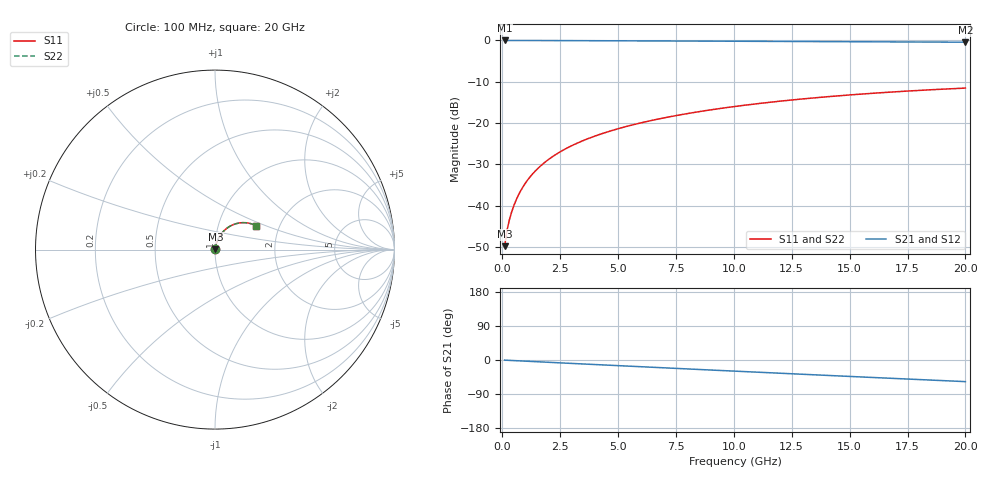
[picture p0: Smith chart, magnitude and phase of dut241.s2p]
! Touchstone file exported from HFSS 2026.1.0
!  File:  C:/ffzhzh/LocalFiles/Ansys_Project_Files/temp_train_BSMRDL_241_1782988429_41620.aedt
!  Generated:  06:35:07 PM Jul  2, 2026
!  Design:  BSMRDL
!  Project:  temp_train_BSMRDL_241_1782988429_41620
! Variables:
!  h_bsmrdl = 5.83um
!  h_ox = 20um
!  h_rdl = 5um
!  h_sub = 80um
!  h_tmrdl = 5um
!  h_tsv = 80um
!  h_via = 3um
!  l_bsmrdl = 977.84um
!  l_sub = 1377.84um
!  l_tmrdl = 200um
!  m_sub = 200um
!  pitch = 45.41um
!  r_tsv = 6um
!  s_tmrdl = 10um
!  w_bsmrdl = 29.79um
!  w_sub = 500um
!  w_tmrdl = 12um
!  x_tsv_center1 = 206um
!  x_tsv_center2 = 1213.63um
!  x_tsv_center3 = 1425.63um
!  x_tsv_center4 = 2433.26um
!  x_tsv_center5 = 2645.26um
!  x_tsv_center6 = 3652.89um
# GHz S MA R 50.000000
! Terminal data exported
! Port[1] = BSM_RDL1_1_T1
! Port[2] = BSM_RDL1_1_T2
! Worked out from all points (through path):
!   200 points, 100 MHz to 20 GHz, reference 50 ohm
!   highest |S21| = -0.02 dB at 100 MHz (marker M1); lowest = -0.4 dB at 20 GHz (marker M2)
!   group delay of S21, straight-line fit = 7.91 ps
!   lowest |S11| = -49.8 dB at 100 MHz (marker M3), VSWR 1.01, Z = 50.2 + j0.222 ohm
!   |S11| at or under -10 dB: start of sweep to end of sweep
!   |S22| runs from -49.8 to -11.6 dB; largest |S21 - S12| = 5.3e-15
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0.1  0.003221 43.4  0.9977 -0.3  0.9977 -0.3  0.003221 43.4
! Gamma 0 0 0 0
! Port Impedance 50 0 50 0
0.2  0.004931 57.0  0.9974 -0.6  0.9974 -0.6  0.004932 57.0
0.3  0.006611 63.5  0.9972 -0.9  0.9972 -0.9  0.006612 63.5
0.4  0.008289 67.5  0.997 -1.2  0.997 -1.2  0.008289 67.5
0.5  0.009987 70.3  0.9969 -1.5  0.9969 -1.5  0.009987 70.3
0.6  0.01171 72.3  0.9968 -1.8  0.9968 -1.8  0.01171 72.3
0.8  0.01519 74.8  0.9966 -2.5  0.9966 -2.5  0.01519 74.8
1.1  0.02047 76.5  0.9963 -3.4  0.9963 -3.4  0.02047 76.5
1.3  0.02399 77.0  0.996 -4.0  0.996 -4.0  0.02399 77.0
1.6  0.02925 77.1  0.9955 -4.9  0.9955 -4.9  0.02925 77.1
2.1  0.03791 76.6  0.9947 -6.4  0.9947 -6.4  0.03791 76.6
2.7  0.04808 75.4  0.9935 -8.2  0.9935 -8.2  0.04808 75.4
3.5  0.06129 73.6  0.9918 -10.5  0.9918 -10.5  0.06129 73.5
4.2  0.07255 71.8  0.9903 -12.6  0.9903 -12.6  0.07255 71.8
5  0.08513 69.8  0.9885 -14.9  0.9885 -14.9  0.08513 69.8
5.9  0.09897 67.5  0.9865 -17.5  0.9865 -17.5  0.09896 67.5
6.8  0.1125 65.2  0.9844 -20.1  0.9844 -20.1  0.1125 65.2
8.4  0.1357 61.0  0.9805 -24.7  0.9805 -24.7  0.1357 61.0
10.1  0.1591 56.5  0.9762 -29.6  0.9762 -29.6  0.1591 56.4
13.4  0.2005 47.7  0.9673 -38.9  0.9673 -38.9  0.2005 47.6
16.7  0.2358 39.0  0.9584 -48.1  0.9584 -48.1  0.2358 38.8
20  0.2644 30.3  0.9503 -57.1  0.9503 -57.1  0.2644 30.1
